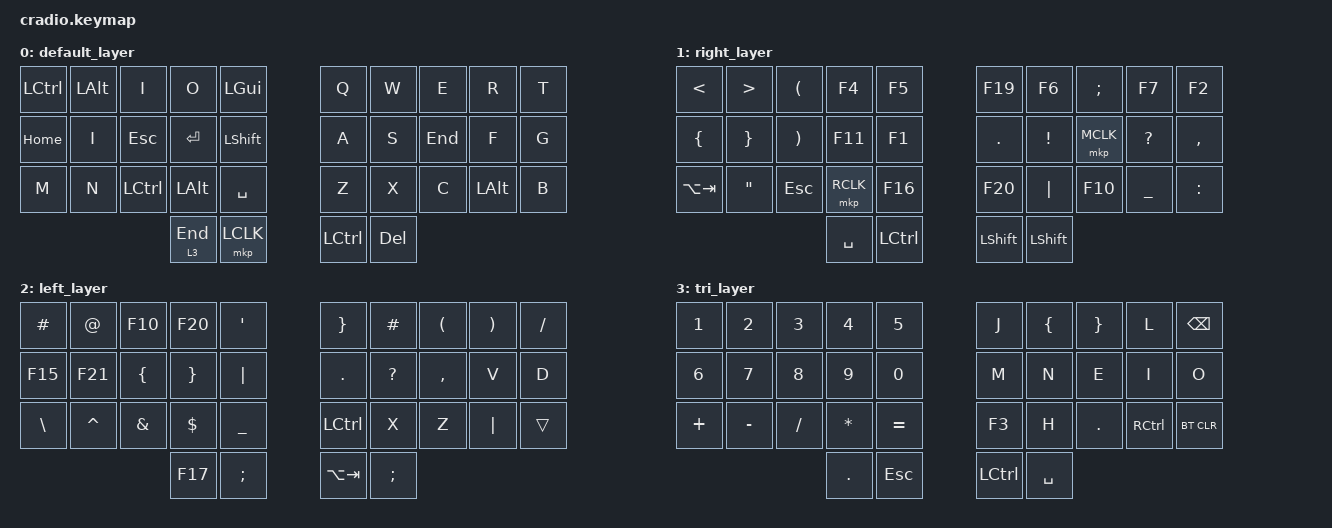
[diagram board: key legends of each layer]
 // Copyright (c) 2022 The ZMK Contributors
// SPDX-License-Identifier: MIT

#include <behaviors.dtsi>
#include <dt-bindings/zmk/keys.h>
#include <dt-bindings/zmk/bt.h>
#include "includes/behaviours_homerow_mods.dtsi"
#include <dt-bindings/zmk/mouse.h>

// Home row mods macro
#define HRML(k1,k2,k3,k4) &ht LSHFT k1  &ht LALT k2  &ht LCTRL k3  &ht LGUI k4

#define HRMR(k1,k2,k3,k4) &ht RGUI k1  &ht RCTRL k2  &ht RALT k3  &ht RSHFT k4
/ {
  
    behaviors {
        ht: hold_tap {
            label = "hold_tap";
            compatible = "zmk,behavior-hold-tap";
            #binding-cells = <2>;
            flavor = "tap-preferred";
            tapping-term-ms = <220>;
            quick-tap-ms = <150>;
            global-quick-tap;
            bindings = <&kp>, <&kp>;
        };
       
	//num_word: behavior_num_word {
	  //  compatible = "zmk,behavior-caps-word";
	   // label = "NUM_WORD";
	   // #binding-cells = <0>;
           // layers = <3>;                                // insert location of numbers layer here
	   // continue-list = <BACKSPACE DELETE DOT COMMA MCLK LCLK RCLK C V F18 F17 Z F19 F20 SPACE>;  // adjust as desired
           // ignore-numbers;                                // numbers don't deactivate the layer
	   
	//};
       



    };

    //conditional_layers {
      //   compatible = "zmk,conditional-layers";
       //  tri_layer {
        //     if-layers = <1 2>;
         //    then-layer = <3>;
       //  };
   //  };

    keymap {
        compatible = "zmk,keymap";
        default_layer {
            bindings = <  //╭──────────┬──────────┬──────────┬──────────┬──────────╮   ╭──────────┬──────────┬──────────┬──────────┬──────────╮
        //│           │         │         │         │          │         │      │           │          │         │         │aa
        //   &kp LT     &kp GT     &kp AT    &kp LC(Z)   &kp LS(LC(F))     &kp F18     &mkp LCLK    &mkp MCLK   &kp F19    
          &kp LCTRL      &kp LALT     &kp I      &kp O     &kp LGUI         &kp Q      &kp W    &kp E   &kp R   &kp T
          
        
        //├──────────┼──────────┼──────────┼──────────┼>──────────┤   ├──────────┼──────────┼──────────┼──────────┼──────────┤
        //│          │          │          │          │          │   │          │          │          │          │         │
     //    &kp LPAR   &kp RPAR    &kp F9   &kp LC(C)  &kp LC(V)      &kp N0      &kp N  F17     &trans   &kp F20   &kp UNDER
          &kp HOME      &kp I    &kp ESC      &kp ENTER     &kp LSHIFT          &kp A      &kp S     &kp END     &kp F     &kp G

                  
        //├──────────┼──────────┼──────────┼──────────┼──────────┤   ├──────────┼──────────┼──────────┼──────────┼──────────┤
        //│          │          │          │          │          │   │          │          │          │          │          │
         // &kp DQT &kp LCTRL   &kp ESC    &mkp RCLK &kp LC(F)      &kp LBRC  &kp RBRC     &kp F22     &kp F11   
         &kp M       &kp N      &kp LCTRL      &kp LALT     &kp SPACE           &kp Z     &kp X      &kp C   &kp LALT   &kp B     
        //╰──────────┴──────────┴──────────┼──────────┼──────────┤   ├──────────┼──────────┼──────────┴──────────┴──────────╯
                                      &lt 3 END &mkp LCLK          &kp LCTRL &kp DEL
        //                                 ╰─────────────────╯   ╰──────────┴──────────╯

            >;
        };

        right_layer {
            bindings = <
              //╭──────────┬──────────┬──────────┬──────────┬──────────╮   ╭──────────┬──────────┬──────────┬──────────┬─────────╮
        //│  Q       │  W      │  F            P     │    K            J      │     L    │           │      Y  │   .     │
            &kp LT   &kp GT    &kp LPAR       &kp F4      &kp F5            &kp F19 &kp F6 &kp SEMI  &kp F7      &kp F2 
        //├──────────┼──────────┼──────────┼──────────┼──────────┤   ├──────────┼──────────┼──────────┼─────────┼──────────┤
        //│  A       │  S      │  R        │  T       │  G       │   │   M       │  N       │  E        │  I       │ O     │
          &kp LEFT_BRACE  &kp RIGHT_BRACE    &kp RPAR    &kp F11   &kp F1        &kp DOT &kp EXCL  &mkp MCLK    &kp QMARK   &kp COMMA         
        //├──────────┼──────────┼──────────┼──────────┼──────────┤   ├──────────┼──────────┼──────────┼──────────┼──────────┤
        //│  Z       │  X       │  C       │  D       │  V       │   │  B     │  H        │    U     │    Y    │ P      │
            &kp  LA(TAB)    &kp DQT     &kp ESC    &mkp RCLK &kp F16  &kp F20    &kp PIPE   &kp F10       &kp UNDER   &kp COLON
        //╰──────────┴──────────┴──────────┼──────────┼──────────┤   ├──────────┼──────────┼──────────┴──────────┴──────────╯
                                           &kp SPACE   &kp LCTRL  &kp LSHIFT    &kp LSHIFT
        //                                 ╰──────────┴──────────╯   ╰──────────┴──────────╯
            >;
        };
       
        left_layer {
            bindings = <
        //╭──────────┬──────────┬──────────┬──────────┬──────────╮   ╭──────────┬──────────┬──────────┬──────────┬──────────╮
        //│          │         │         │         │          │   │     │         │         │         │        │
            &kp HASH  &kp AT &kp F10  &kp F20    &kp SINGLE_QUOTE           &kp RBRC   &kp HASH   &kp LPAR   &kp RPAR    &kp SLASH
        //├──────────┼──────────┼──────────┼──────────┼──────────┤   ├──────────┼──────────┼──────────┼──────────┼──────────┤
        //│         │         │         │        │            │         │         │         │         │         │
          &kp F15  &kp F21   &kp LBRC    &kp RBRC  &kp PIPE      &kp DOT   &kp QMARK    &kp COMMA   &kp V  &kp D  
        //├──────────┼──────────┼──────────┼──────────┼──────────┤   ├──────────┼──────────┼──────────┼──────────┼──────────┤
        //│          │          │          │          │          │   │  &      │        │         │  │       │          │
            &kp BSLH     &kp CARET   &kp AMPS    &kp DLLR    &kp UNDER        &kp LCTRL  &kp X  &kp Z      &kp PIPE      &trans
        //╰──────────┴──────────┴──────────┼──────────┼──────────┤   ├──────────┼──────────┼──────────┴──────────┴──────────╯
                                             &kp F17     &kp SEMI     &kp  LA(TAB)  &kp SEMI
        //                                 ╰──────────┴──────────╯   ╰──────────┴──────────╯
            >;
        };

        tri_layer {
            bindings = <
         //╭──────────┬──────────┬──────────┬──────────┬──────────╮   ╭──────────┬──────────┬──────────┬──────────┬─────────╮
        //│  Q       │  W      │  F            P     │    K            J      │     L    │           │      Y  │   .     │
              &kp N1     &kp N2     &kp N3      &kp N4    &kp N5       &kp J      &kp LBRC  &kp RBRC   &kp L   &kp BSPC
        //├──────────┼──────────┼──────────┼──────────┼──────────┤   ├──────────┼──────────┼──────────┼─────────┼──────────┤
        //│  A       │  S      │  R        │  T       │  G       │   │   M       │  N       │  E        │  I       │ O     │
              &kp N6      &kp N7     &kp N8    &kp N9      &kp N0        &kp M         &kp N      &kp E       &kp I     &kp O
        //├──────────┼──────────┼──────────┼──────────┼──────────┤   ├──────────┼──────────┼──────────┼──────────┼──────────┤
        //│  Z       │  X       │  C       │  D       │  V       │   │  B     │  H        │    U     │    Y    │ P      │
             &kp PLUS &kp MINUS  &kp SLASH  &kp STAR   &kp EQUAL        &kp F3     &kp H      &kp DOT   &kp RCTRL     &bt BT_CLR
        //╰──────────┴──────────┴──────────┼──────────┼──────────┤   ├──────────┼──────────┼──────────┴──────────┴──────────╯
                                          &kp DOT  &kp ESC 		&kp LCTRL    &kp SPACE   
        //                                 ╰──────────┴──────────╯   ╰──────────┴──────────╯
            >;
        };

    };
};
